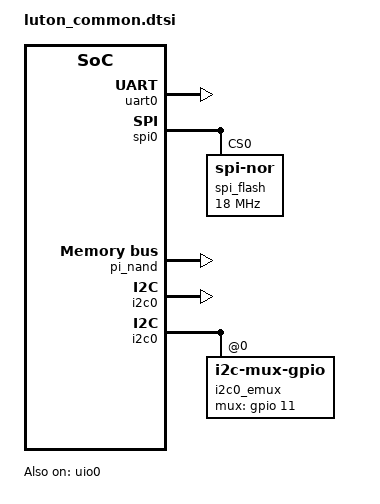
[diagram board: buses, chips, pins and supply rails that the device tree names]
// SPDX-License-Identifier: (GPL-2.0+ OR MIT)
/*
 * Copyright (c) 2020 Microsemi Corporation
 */

#include "luton.dtsi"

/ {
	aliases {
		spi0 = &spi0;
		serial0 = &uart0;
		i2c0    = &i2c0;
		i2c108  = &i2c108;
		i2c109  = &i2c109;
		i2c203  = &i2c203;
	};

	chosen {
		stdout-path = "serial0:115200n8";
	};
};

&uart0 {
	status = "okay";
};

&spi0 {
	status = "okay";
	spi-flash@0 {
		label = "spi_flash";
		compatible = "jedec,spi-nor";
		spi-max-frequency = <18000000>; /* input clock */
		reg = <0>; /* CS0 */
	};
};

&pi_nand {
	status = "okay";
	chip-delay = <100>; // MX30LF1GE8AB with internal ECC has 45-70 us tR_ECC
	waitcc = <8>;       // Slow down NAND CS via waitcc - appx 77ns
	partitions {
		compatible = "fixed-partitions";
		#address-cells = <1>;
		#size-cells = <1>;
		/* 256MiB */
		partition@0 {
			    label = "rootfs_nand_data";
			    reg = <0x0000000 0x10000000>;
		};
	};
};

&i2c0 {
	status = "okay";
	i2c-sda-hold-time-ns = <300>;
};

&ahb {
	i2c0_emux: i2c0-emux@0 {
		compatible = "i2c-mux-gpio";
		#address-cells = <1>;
		#size-cells = <0>;
		i2c-parent = <&i2c0>;
		mux-gpios = <&gpio 11 GPIO_ACTIVE_HIGH>;
		idle-state = <0>;
		i2c108: i2c_sfp1 {
			reg = <0>;
			#address-cells = <1>;
			#size-cells = <0>;
		};
		i2c109: i2c_sfp2 {
			reg = <1>;
			#address-cells = <1>;
			#size-cells = <0>;
		};
		i2c203: pd69xxx {
			reg = <2>;
			#address-cells = <1>;
			#size-cells = <0>;
		};
	};
};

&uio0 {
	status = "okay";
};
